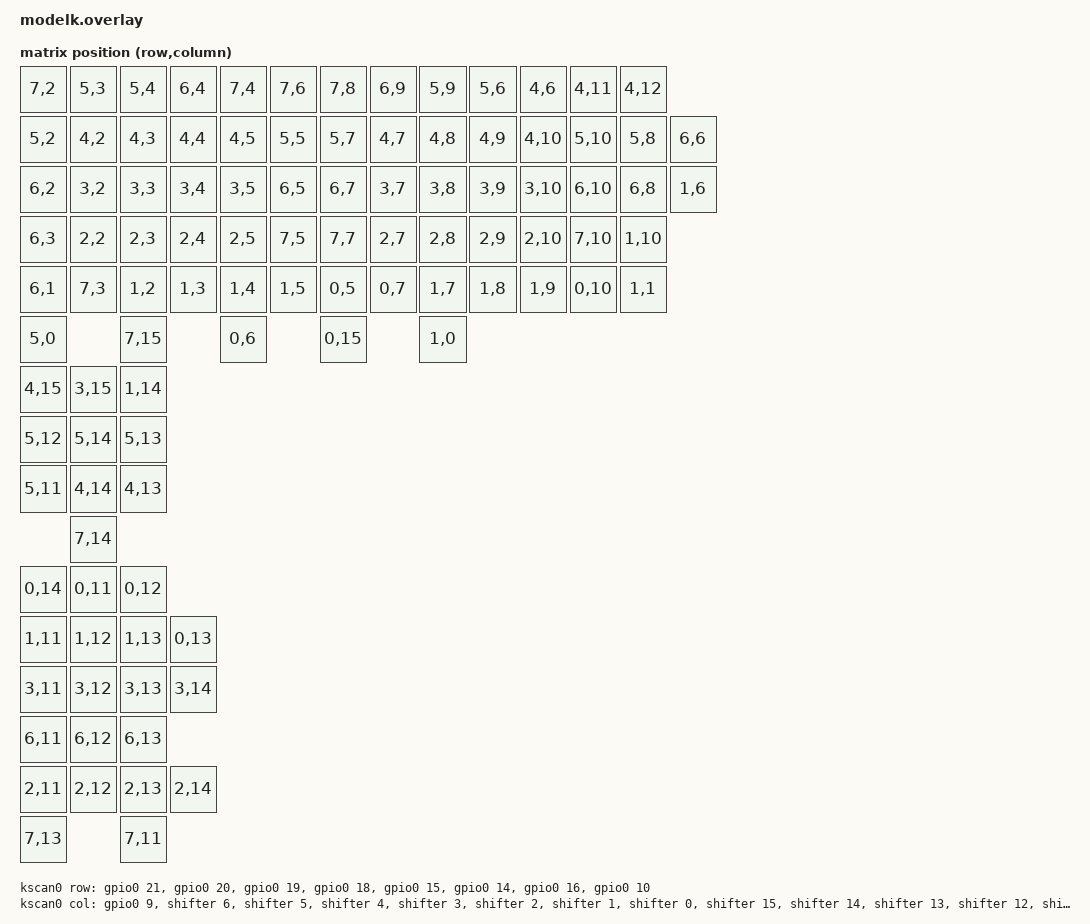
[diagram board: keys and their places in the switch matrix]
#include <dt-bindings/zmk/matrix_transform.h>

/ {
    chosen {
        zmk,kscan = &kscan0;
        zmk,matrix_transform = &default_transform;
    };

    default_transform: keymap_transform_0 {
        compatible = "zmk,matrix-transform";
        columns = <16>;
        rows = <8>;

        map = <
            // Standard rows
            RC(7,2)   RC(5,3) RC(5,4) RC(6,4) RC(7,4) RC(7,6) RC(7,8) RC(6,9) RC(5,9) RC(5,6) RC(4,6) RC(4,11) RC(4,12)
            RC(5,2) RC(4,2) RC(4,3) RC(4,4) RC(4,5) RC(5,5) RC(5,7) RC(4,7) RC(4,8) RC(4,9) RC(4,10) RC(5,10) RC(5,8)    RC(6,6) /*BACKS*/
            RC(6,2) RC(3,2) RC(3,3) RC(3,4) RC(3,5) RC(6,5) RC(6,7) RC(3,7) RC(3,8) RC(3,9) RC(3,10) RC(6,10) RC(6,8)    RC(1,6) /*ENTER*/
            RC(6,3) RC(2,2) RC(2,3) RC(2,4) RC(2,5) RC(7,5) RC(7,7) RC(2,7) RC(2,8) RC(2,9) RC(2,10) RC(7,10) RC(1,10)  /* rest of ENTER */
            RC(6,1) RC(7,3) RC(1,2) RC(1,3) RC(1,4) RC(1,5) RC(0,5) RC(0,7) RC(1,7) RC(1,8) RC(1,9) RC(0,10) RC(1,1) /*SHIFT*/
            RC(5,0)         RC(7,15)        RC(0,6)         RC(0,15)        RC(1,0)
            /*CTRL          ALT             SPACE           ALT             CTRL*/


            // Middle column
            RC(4,15) RC(3,15) RC(1,14)

            RC(5,12) RC(5,14) RC(5,13)
            RC(5,11) RC(4,14) RC(4,13)

                     RC(7,14)
            RC(0,14) RC(0,11) RC(0,12)


            // Numpad
            RC(1,11) RC(1,12) RC(1,13) RC(0,13)
            RC(3,11) RC(3,12) RC(3,13) RC(3,14)
            RC(6,11) RC(6,12) RC(6,13)
            RC(2,11) RC(2,12) RC(2,13) RC(2,14)
            RC(7,13)          RC(7,11) // I fucked up when rebuilding mine
            // It's meant to be 7,12; 7,13
        >;
    };

    behaviors {
        leader1: leader1 {
            compatible = "zmk,behavior-leader-key";
            #binding-cells = <0>;
            // See https://github.com/urob/zmk-leader-key
            //usb { sequence = <LS(LALT)>; bindings = <&kb LGUI>; };
        };
    };

    kscan0: kscan {
        compatible = "zmk,kscan-gpio-matrix";
        label = "KSCAN";
        diode-direction = "col2row";


        // 8 rows
        // Yes these pins are all over the place but they are correct
        row-gpios =
            <&gpio0 21 (GPIO_ACTIVE_HIGH | GPIO_PULL_DOWN)>,  // Row 7 (P0.21)
            <&gpio0 20 (GPIO_ACTIVE_HIGH | GPIO_PULL_DOWN)>,  // Row 6 (P0.20)
            <&gpio0 19 (GPIO_ACTIVE_HIGH | GPIO_PULL_DOWN)>,  // Row 5 (P0.19)
            <&gpio0 18 (GPIO_ACTIVE_HIGH | GPIO_PULL_DOWN)>,  // Row 4 (P0.18)
            <&gpio0 15 (GPIO_ACTIVE_HIGH | GPIO_PULL_DOWN)>,  // Row 3 (P0.15)
            <&gpio0 14 (GPIO_ACTIVE_HIGH | GPIO_PULL_DOWN)>,  // Row 2 (P0.14)
            <&gpio0 16 (GPIO_ACTIVE_HIGH | GPIO_PULL_DOWN)>,  // Row 1 (P0.16)
            <&gpio0 10 (GPIO_ACTIVE_HIGH | GPIO_PULL_DOWN)>;  // Row 0 (P0.10)

        // 16 columns via shift registers
        // Because of the way the shifter are laid out the column definition looks like this
        // It also means that they are consistent with  the matrix as laid out by phosphorglow
        // https://deskthority.net/viewtopic.php?p=451764#p451764
        col-gpios =
            <&gpio0 9 GPIO_ACTIVE_HIGH>,
            <&shifter 6  GPIO_ACTIVE_HIGH>,   // Col 1
            <&shifter 5  GPIO_ACTIVE_HIGH>,   // Col 5
            <&shifter 4  GPIO_ACTIVE_HIGH>,   // Col 4
            <&shifter 3  GPIO_ACTIVE_HIGH>,   // Col 3
            <&shifter 2  GPIO_ACTIVE_HIGH>,   // Col 2
            <&shifter 1  GPIO_ACTIVE_HIGH>,   // Col 1
            <&shifter 0  GPIO_ACTIVE_HIGH>,   // Col 0
            <&shifter 15 GPIO_ACTIVE_HIGH>,   // Col 15
            <&shifter 14 GPIO_ACTIVE_HIGH>,   // Col 14
            <&shifter 13 GPIO_ACTIVE_HIGH>,   // Col 13
            <&shifter 12 GPIO_ACTIVE_HIGH>,   // Col 12
            <&shifter 11 GPIO_ACTIVE_HIGH>,   // Col 11
            <&shifter 10 GPIO_ACTIVE_HIGH>,   // Col 10
            <&shifter 9  GPIO_ACTIVE_HIGH>,   // Col 9
            <&shifter 8  GPIO_ACTIVE_HIGH>;   // Col 8
    };
};

// From https://zmk.dev/docs/development/hardware-integration/pinctrl#pinctrl-node
&pinctrl {
    /* configuration for spi0 device, default state */
    spi0_default: spi0_default {
        /* node name is arbitrary */
        group1 {
            pinmux = <PIO0_P3>, <PIO0_P4>;
        };
    };

    spi0_sleep: spi0_sleep {
        group1 {
            pinmux = <PIO0_P3>, <PIO0_P4>;
        };
    };
};

// From https://zmk.dev/docs/development/hardware-integration/pinctrl?controller-type=rp2040#rp2040-pio
&pio0 {
    /* enables this PIO block */
    status = "okay";
    pio0_spi: pio0_spi {
        pinctrl-0 = <&spi0_default>;
        pinctrl-names = "default";
        compatible = "raspberrypi,pico-spi-pio";
        #address-cells = <1>;
        #size-cells = <0>;
        clocks = <&system_clk>;
        clock-frequency = <4000000>;
        /* These pins should be the same as in pinctrl */
        clk-gpios = <&gpio0 4 0>;
        mosi-gpios = <&gpio0 3 0>;
        miso-gpios = <&gpio0 0 GPIO_ACTIVE_HIGH>; // miso not used but doesn't compile otherwise

        cs-gpios = <&gpio0 2 GPIO_ACTIVE_HIGH>;

        shifter: 595@0 {
            compatible = "zmk,gpio-595";
            status = "okay";
            reg = <0>;
            spi-max-frequency = <600000>;
            gpio-controller;
            #gpio-cells = <2>;
            ngpios = <16>; // Daisy chained so 16
        };
    };
};
